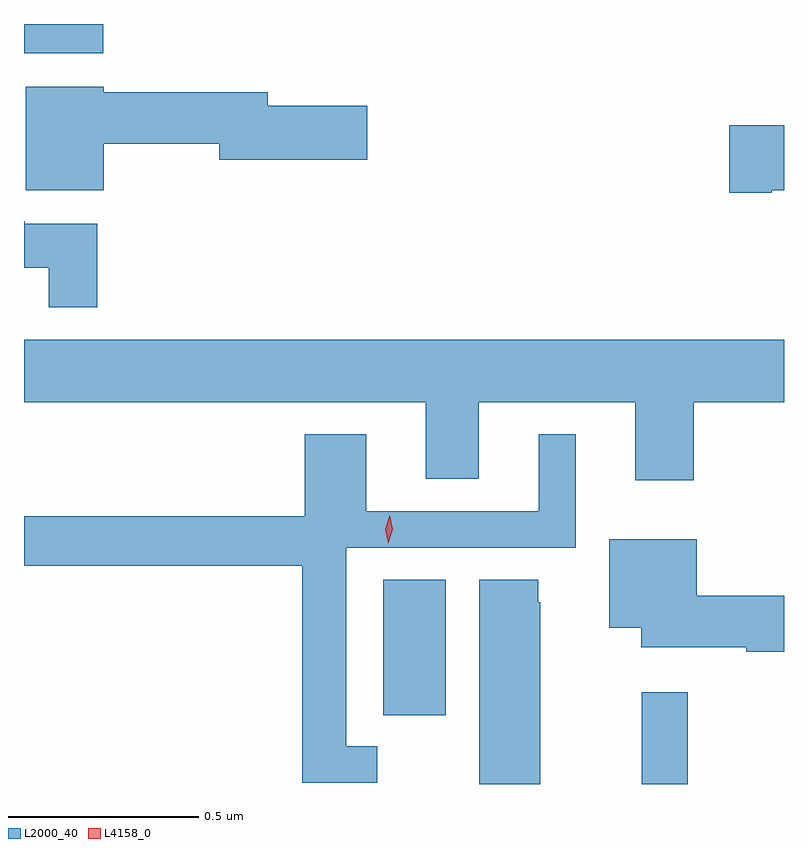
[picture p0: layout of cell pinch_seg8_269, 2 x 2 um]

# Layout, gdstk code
import gdstk
lib = gdstk.Library(unit=1e-6, precision=1e-09)
def R(c, l, rs):  # rectangles x0, y0, x1, y1
    for r in rs: c.add(gdstk.rectangle(r[:2], r[2:], *l))
def P(c, l, *ps):  # polygons
    for p in ps: c.add(gdstk.Polygon(p, *l))
L2000_40 = (2000, 40)
L4158_0 = (4158, 0)

pinch_seg8_269 = lib.new_cell('pinch_seg8_269')
R(pinch_seg8_269, L2000_40, [(567.388,1156.787,567.509,1157.029), (566.708,1156.968,566.872,1157.324), (565.762,1158.71,565.97,1158.787)])
P(pinch_seg8_269, L2000_40, [(565.972,1158.472),(566.276,1158.472),(566.276,1158.43),(566.665,1158.43),(566.665,1158.572),(566.404,1158.572),(566.404,1158.608),(565.972,1158.608),(565.972,1158.622),(565.766,1158.622),(565.766,1158.35),(565.972,1158.35)],
  [(567.73,1158.35),(567.762,1158.35),(567.762,1158.521),(567.618,1158.521),(567.618,1158.343),(567.73,1158.343)],
  [(565.955,1158.262),(565.764,1158.262),(565.764,1158.268),(565.762,1158.268),(565.762,1158.146),(565.827,1158.146),(565.827,1158.041),(565.955,1158.041)],
  [(567.524,1157.792),(567.762,1157.792),(567.762,1157.956),(565.762,1157.956),(565.762,1157.792),(566.819,1157.792),(566.819,1157.59),(566.959,1157.59),(566.959,1157.792),(567.371,1157.792),(567.371,1157.586),(567.524,1157.586)],
  [(566.692,1156.887),(566.61,1156.887),(566.61,1157.409),(567.214,1157.409),(567.214,1157.707),(567.116,1157.707),(567.116,1157.505),(566.662,1157.505),(566.662,1157.707),(566.501,1157.707),(566.501,1157.491),(565.762,1157.491),(565.762,1157.362),(566.494,1157.362),(566.494,1156.79),(566.692,1156.79)],
  [(567.762,1157.282),(567.532,1157.282),(567.532,1157.431),(567.302,1157.431),(567.302,1157.198),(567.386,1157.198),(567.386,1157.147),(567.662,1157.147),(567.662,1157.135),(567.762,1157.135)],
  [(567.121,1157.265),(567.115,1157.265),(567.115,1157.324),(566.96,1157.324),(566.96,1156.787),(567.121,1156.787)])
P(pinch_seg8_269, L4158_0, [(566.721,1157.421),(566.721,1157.421),(566.712,1157.458),(566.724,1157.494),(566.724,1157.494),(566.724,1157.494),(566.732,1157.457),(566.721,1157.421)])

lib.write_gds('pinch_seg8_269.gds')
